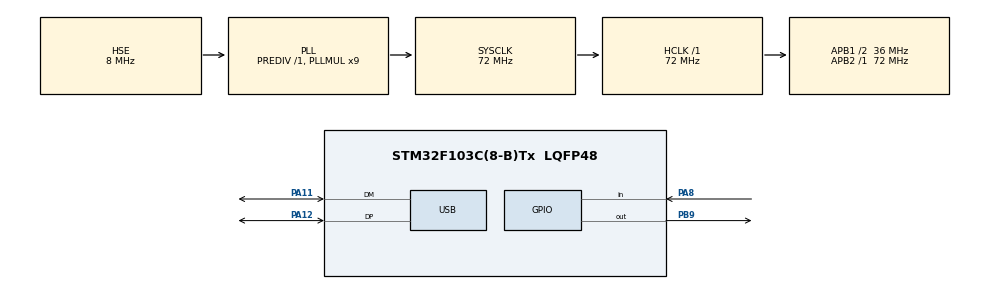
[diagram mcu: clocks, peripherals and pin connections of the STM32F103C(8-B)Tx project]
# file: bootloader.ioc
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Mcu.Family=STM32F1
Mcu.Name=STM32F103C(8-B)Tx
Mcu.Package=LQFP48
NVIC.PriorityGroup=NVIC_PRIORITYGROUP_4
NVIC.USB_LP_CAN1_RX0_IRQn=true\:0\:0\:false\:false\:true
PA11.Mode=Device
PA11.Signal=USB_DM
PA12.Mode=Device
PA12.Signal=USB_DP
PA13.Mode=Serial_Wire
PA13.Signal=SYS_JTMS-SWDIO
PA14.Mode=Serial_Wire
PA14.Signal=SYS_JTCK-SWCLK
PA8.GPIO_PuPd=GPIO_PULLUP
PA8.Signal=GPIO_Input
PB9.Signal=GPIO_Output
PD0-OSC_IN.Mode=HSE-External-Oscillator
PD0-OSC_IN.Signal=RCC_OSC_IN
PD1-OSC_OUT.Mode=HSE-External-Oscillator
PD1-OSC_OUT.Signal=RCC_OSC_OUT
ProjectManager.HeapSize=0x200
ProjectManager.StackSize=0x400
ProjectManager.TargetToolchain=SW4STM32
RCC.AHBFreq_Value=72000000
RCC.APB1CLKDivider=RCC_HCLK_DIV2
RCC.APB1Freq_Value=36000000
RCC.APB1TimFreq_Value=72000000
RCC.APB2Freq_Value=72000000
RCC.APB2TimFreq_Value=72000000
RCC.HCLKFreq_Value=72000000
RCC.HSIState=RCC_HSI_ON
RCC.PLLMUL=RCC_PLL_MUL9
RCC.SYSCLKFreq_VALUE=72000000
RCC.SYSCLKSource=RCC_SYSCLKSOURCE_PLLCLK
RCC.USBFreq_Value=48000000
RCC.USBPrescaler=RCC_USBCLKSOURCE_PLL_DIV1_5
USB_DEVICE.CLASS_NAME_FS=DFU
USB_DEVICE.MANUFACTURER_STRING=nichtgedacht
USB_DEVICE.USBD_HandleTypeDef=hUsbDeviceFS
USB_DEVICE.VID=1253
USB_DEVICE.VirtualMode=Dfu
USB_DEVICE.VirtualModeFS=Dfu_FS
VP_CRC_VS_CRC.Mode=CRC_Activate
VP_USB_DEVICE_VS_USB_DEVICE_DFU_FS.Mode=DFU_FS
board=bootloader

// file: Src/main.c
/**
 ******************************************************************************
 * File Name          : main.c
 * Description        : Main program body
 ******************************************************************************
 *
 * Copyright (c) 2017 STMicroelectronics International N.V.
 * All rights reserved.
 *
 * Redistribution and use in source and binary forms, with or without
 * modification, are permitted, provided that the following conditions are met:
 *
 * 1. Redistribution of source code must retain the above copyright notice,
 *    this list of conditions and the following disclaimer.
 * 2. Redistributions in binary form must reproduce the above copyright notice,
 *    this list of conditions and the following disclaimer in the documentation
 *    and/or other materials provided with the distribution.
 * 3. Neither the name of STMicroelectronics nor the names of other
 *    contributors to this software may be used to endorse or promote products
 *    derived from this software without specific written permission.
 * 4. This software, including modifications and/or derivative works of this
 *    software, must execute solely and exclusively on microcontroller or
 *    microprocessor devices manufactured by or for STMicroelectronics.
 * 5. Redistribution and use of this software other than as permitted under
 *    this license is void and will automatically terminate your rights under
 *    this license.
 *
 * THIS SOFTWARE IS PROVIDED BY STMICROELECTRONICS AND CONTRIBUTORS "AS IS"
 * AND ANY EXPRESS, IMPLIED OR STATUTORY WARRANTIES, INCLUDING, BUT NOT
 * LIMITED TO, THE IMPLIED WARRANTIES OF MERCHANTABILITY, FITNESS FOR A
 * PARTICULAR PURPOSE AND NON-INFRINGEMENT OF THIRD PARTY INTELLECTUAL PROPERTY
 * RIGHTS ARE DISCLAIMED TO THE FULLEST EXTENT PERMITTED BY LAW. IN NO EVENT
 * SHALL STMICROELECTRONICS OR CONTRIBUTORS BE LIABLE FOR ANY DIRECT, INDIRECT,
 * INCIDENTAL, SPECIAL, EXEMPLARY, OR CONSEQUENTIAL DAMAGES (INCLUDING, BUT NOT
 * LIMITED TO, PROCUREMENT OF SUBSTITUTE GOODS OR SERVICES; LOSS OF USE, DATA,
 * OR PROFITS; OR BUSINESS INTERRUPTION) HOWEVER CAUSED AND ON ANY THEORY OF
 * LIABILITY, WHETHER IN CONTRACT, STRICT LIABILITY, OR TORT (INCLUDING
 * NEGLIGENCE OR OTHERWISE) ARISING IN ANY WAY OUT OF THE USE OF THIS SOFTWARE,
 * EVEN IF ADVISED OF THE POSSIBILITY OF SUCH DAMAGE.
 *
 ******************************************************************************
 */
#include "main.h"
#include "stm32f1xx_hal.h"
#include "usb_device.h"

/* USER CODE BEGIN Includes */

#include "usbd_core.h"
#include "usbd_dfu.h"
#include "usbd_dfu_if.h"
#include "stm32f1xx_hal.h"

typedef void (*pFunction)(void);

/* USER CODE END Includes */

CRC_HandleTypeDef hcrc;

/* USER CODE BEGIN PV */
/* Private variables ---------------------------------------------------------*/

uint32_t JumpAddress;
pFunction JumpToApplication;

/* USER CODE END PV */

void SystemClock_Config(void);
void Error_Handler(void);
static void MX_GPIO_Init(void);
static void MX_CRC_Init(void);

/* USER CODE BEGIN PFP */
/* Private function prototypes -----------------------------------------------*/
/* USER CODE END PFP */

/* USER CODE BEGIN 0 */

uint32_t flash_buf[256];
extern volatile uint32_t DFUrequest;

/* USER CODE END 0 */

int main(void)
{

    /* MCU Configuration----------------------------------------------------------*/

    /* Reset of all peripherals, Initializes the Flash interface and the Systick. */
    HAL_Init();

    /* Configure the system clock */
    SystemClock_Config();

    /* Initialize all configured peripherals */
    MX_GPIO_Init();
    MX_CRC_Init();

    /* USER CODE BEGIN 2 */

    // enable USB on maple mine clone or use reset as default state
    HAL_GPIO_WritePin(GPIOB, GPIO_PIN_9, GPIO_PIN_SET);
    HAL_Delay(100);
    HAL_GPIO_WritePin(GPIOB, GPIO_PIN_9, GPIO_PIN_RESET);

    // Don't beep
    HAL_GPIO_WritePin(GPIOA, GPIO_PIN_15, GPIO_PIN_RESET);

    // Jump to App if flag is not set and also switch is not pressed
    if (GPIO_PIN_SET == HAL_GPIO_ReadPin(GPIOA, GPIO_PIN_8) && 0xDB1953DB != DFUrequest)
    {
        // Test if application seems to be programmed at APPLICATION_ADDRESS
        if (((*(__IO uint32_t*) APPLICATION_ADDRESS ) & 0x2FFE0000) == 0x20000000)
        {
            // Prevent motor start while reboot
            HAL_Delay(150);

            JumpAddress = *(__IO uint32_t*) (APPLICATION_ADDRESS + 4);
            JumpToApplication = (pFunction) JumpAddress;

            __set_MSP(*(__IO uint32_t*) APPLICATION_ADDRESS);
            JumpToApplication();
        }
    }

    MX_USB_DEVICE_Init();

    /* USER CODE END 2 */

    /* Infinite loop */
    while (1)
    {

    }

}

/** System Clock Configuration
 */
void SystemClock_Config(void)
{

    RCC_OscInitTypeDef RCC_OscInitStruct;
    RCC_ClkInitTypeDef RCC_ClkInitStruct;
    RCC_PeriphCLKInitTypeDef PeriphClkInit;

    /**Initializes the CPU, AHB and APB busses clocks
     */
    RCC_OscInitStruct.OscillatorType = RCC_OSCILLATORTYPE_HSE;
    RCC_OscInitStruct.HSEState = RCC_HSE_ON;
    RCC_OscInitStruct.HSEPredivValue = RCC_HSE_PREDIV_DIV1;
    RCC_OscInitStruct.HSIState = RCC_HSI_ON;
    RCC_OscInitStruct.PLL.PLLState = RCC_PLL_ON;
    RCC_OscInitStruct.PLL.PLLSource = RCC_PLLSOURCE_HSE;
    RCC_OscInitStruct.PLL.PLLMUL = RCC_PLL_MUL9;
    if (HAL_RCC_OscConfig(&RCC_OscInitStruct) != HAL_OK)
    {
        Error_Handler();
    }

    /**Initializes the CPU, AHB and APB busses clocks
     */
    RCC_ClkInitStruct.ClockType = RCC_CLOCKTYPE_HCLK | RCC_CLOCKTYPE_SYSCLK | RCC_CLOCKTYPE_PCLK1 | RCC_CLOCKTYPE_PCLK2;
    RCC_ClkInitStruct.SYSCLKSource = RCC_SYSCLKSOURCE_PLLCLK;
    RCC_ClkInitStruct.AHBCLKDivider = RCC_SYSCLK_DIV1;
    RCC_ClkInitStruct.APB1CLKDivider = RCC_HCLK_DIV2;
    RCC_ClkInitStruct.APB2CLKDivider = RCC_HCLK_DIV1;

    if (HAL_RCC_ClockConfig(&RCC_ClkInitStruct, FLASH_LATENCY_2) != HAL_OK)
    {
        Error_Handler();
    }

    PeriphClkInit.PeriphClockSelection = RCC_PERIPHCLK_USB;
    PeriphClkInit.UsbClockSelection = RCC_USBCLKSOURCE_PLL_DIV1_5;
    if (HAL_RCCEx_PeriphCLKConfig(&PeriphClkInit) != HAL_OK)
    {
        Error_Handler();
    }

    /**Configure the Systick interrupt time
     */
    HAL_SYSTICK_Config(HAL_RCC_GetHCLKFreq() / 1000);

    /**Configure the Systick
     */
    HAL_SYSTICK_CLKSourceConfig(SYSTICK_CLKSOURCE_HCLK);

    /* SysTick_IRQn interrupt configuration */
    HAL_NVIC_SetPriority(SysTick_IRQn, 0, 0);
}

/* CRC init function not used yet */
static void MX_CRC_Init(void)
{
    hcrc.Instance = CRC;
    if (HAL_CRC_Init(&hcrc) != HAL_OK)
    {
        Error_Handler();
    }
}

/** Configure pins as
 * Analog
 * Input
 * Output
 * EVENT_OUT
 * EXTI
 */
static void MX_GPIO_Init(void)
{
    GPIO_InitTypeDef GPIO_InitStruct;

    /* GPIO Ports Clock Enable */
    __HAL_RCC_GPIOD_CLK_ENABLE();
    __HAL_RCC_GPIOA_CLK_ENABLE();
    __HAL_RCC_GPIOB_CLK_ENABLE();

    /*Configure GPIO pin Output Level */
    HAL_GPIO_WritePin(GPIOB, GPIO_PIN_9, GPIO_PIN_RESET);

    /*Configure GPIO pin : PA8 */
    GPIO_InitStruct.Pin = GPIO_PIN_8;
    GPIO_InitStruct.Mode = GPIO_MODE_INPUT;
    GPIO_InitStruct.Pull = GPIO_PULLUP;
    HAL_GPIO_Init(GPIOA, &GPIO_InitStruct);

    /*Configure GPIO pin : PB9 */
    GPIO_InitStruct.Pin = GPIO_PIN_9;
    GPIO_InitStruct.Mode = GPIO_MODE_OUTPUT_PP;
    GPIO_InitStruct.Speed = GPIO_SPEED_FREQ_LOW;
    HAL_GPIO_Init(GPIOB, &GPIO_InitStruct);
}

void Error_Handler(void)
{
    while (1)
    {
    }
}

/************************ (C) COPYRIGHT STMicroelectronics *****END OF FILE****/
